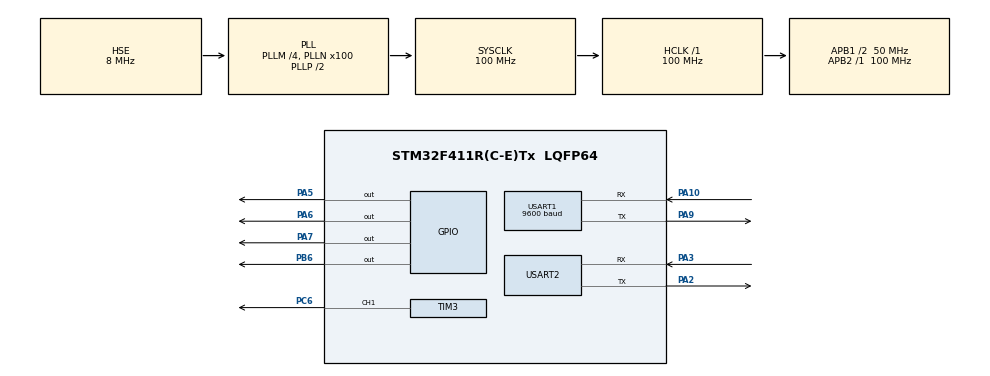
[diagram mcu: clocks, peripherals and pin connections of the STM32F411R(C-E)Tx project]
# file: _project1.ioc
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Mcu.Family=STM32F4
Mcu.Name=STM32F411R(C-E)Tx
Mcu.Package=LQFP64
NVIC.PriorityGroup=NVIC_PRIORITYGROUP_4
NVIC.USART1_IRQn=true\:0\:0\:false\:false\:true\:true\:true\:true
NVIC.USART2_IRQn=true\:0\:0\:false\:false\:true\:true\:true\:true
PA10.Mode=Asynchronous
PA10.Signal=USART1_RX
PA13.Mode=Serial_Wire
PA13.Signal=SYS_JTMS-SWDIO
PA14.Mode=Serial_Wire
PA14.Signal=SYS_JTCK-SWCLK
PA2.Mode=Asynchronous
PA2.Signal=USART2_TX
PA3.Mode=Asynchronous
PA3.Signal=USART2_RX
PA5.Signal=GPIO_Output
PA6.Signal=GPIO_Output
PA7.Signal=GPIO_Output
PA9.Mode=Asynchronous
PA9.Signal=USART1_TX
PB6.Signal=GPIO_Output
PC6.Signal=S_TIM3_CH1
PH0\ -\ OSC_IN.Mode=HSE-External-Oscillator
PH0\ -\ OSC_IN.Signal=RCC_OSC_IN
PH1\ -\ OSC_OUT.Mode=HSE-External-Oscillator
PH1\ -\ OSC_OUT.Signal=RCC_OSC_OUT
ProjectManager.HeapSize=0x200
ProjectManager.StackSize=0x400
ProjectManager.TargetToolchain=STM32CubeIDE
RCC.48MHZClocksFreq_Value=50000000
RCC.AHBFreq_Value=100000000
RCC.APB1CLKDivider=RCC_HCLK_DIV2
RCC.APB1Freq_Value=50000000
RCC.APB1TimFreq_Value=100000000
RCC.APB2Freq_Value=100000000
RCC.APB2TimFreq_Value=100000000
RCC.CortexFreq_Value=100000000
RCC.HCLKFreq_Value=100000000
RCC.HSE_VALUE=8000000
RCC.HSI_VALUE=16000000
RCC.LSE_VALUE=32768
RCC.PLLM=4
RCC.PLLN=100
RCC.PLLSourceVirtual=RCC_PLLSOURCE_HSE
RCC.SYSCLKFreq_VALUE=100000000
RCC.SYSCLKSource=RCC_SYSCLKSOURCE_PLLCLK
RCC.VCOOutputFreq_Value=200000000
SH.S_TIM3_CH1.0=TIM3_CH1,PWM Generation1 CH1
TIM3.Channel-PWM\ Generation1\ CH1=TIM_CHANNEL_1
TIM3.Period=100-1
TIM3.Prescaler=10000-1
USART1.BaudRate=9600
USART1.VirtualMode=VM_ASYNC
USART2.VirtualMode=VM_ASYNC
VP_TIM3_VS_ClockSourceINT.Mode=Internal
board=custom

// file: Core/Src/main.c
/* USER CODE BEGIN Header */
/**
  ******************************************************************************
  * @file           : main.c
  * @brief          : Main program body
  ******************************************************************************
  * @attention
  *
  * Copyright (c) 2024 STMicroelectronics.
  * All rights reserved.
  *
  * This software is licensed under terms that can be found in the LICENSE file
  * in the root directory of this software component.
  * If no LICENSE file comes with this software, it is provided AS-IS.
  *
  ******************************************************************************
  */
/* USER CODE END Header */
#include "main.h"
#include "tim.h"
#include "usart.h"
#include "gpio.h"

/* USER CODE BEGIN PV */

uint8_t rxData[8];

/* USER CODE END PV */

void SystemClock_Config(void);
/* USER CODE BEGIN PFP */

void HAL_UART_RxCpltCallback(UART_HandleTypeDef *huart)
{
	if(huart ->Instance == USART1)
	{
		HAL_UART_Transmit_IT(&huart1, rxData, sizeof(rxData));
		HAL_UART_Receive_IT(&huart1, rxData, sizeof(rxData));
	}

	if(huart ->Instance == USART2)
	{
		HAL_UART_Transmit_IT(&huart2, rxData, sizeof(rxData));
		HAL_UART_Receive_IT(&huart2, rxData, sizeof(rxData));
	}
}
/* USER CODE END PFP */

int main(void)
{

  /* MCU Configuration--------------------------------------------------------*/

  /* Reset of all peripherals, Initializes the Flash interface and the Systick. */
  HAL_Init();

  /* Configure the system clock */
  SystemClock_Config();

  /* Initialize all configured peripherals */
  MX_GPIO_Init();
  MX_USART2_UART_Init();
  MX_USART1_UART_Init();
  MX_TIM3_Init();
  /* USER CODE BEGIN 2 */

  HAL_UART_Receive_IT(&huart1, rxData, sizeof(rxData));
  HAL_UART_Receive_IT(&huart2, rxData, sizeof(rxData));

  HAL_TIM_PWM_Start(&htim3, TIM_CHANNEL_1);

  TIM3->CCR1 =50;
  /* USER CODE END 2 */

  /* Infinite loop */
  /* USER CODE BEGIN WHILE */

  uint8_t dutyValue =0 ;

  while (1)
  {

	  if(rxData[6] == 1 || rxData[6] == 2 ||rxData[6] == 8 ||rxData[6] == 4)
	  {
		  dutyValue =rxData[6];

		  switch(dutyValue)
		  {
		  case 1 :
			  HAL_GPIO_WritePin(GPIOA, GPIO_PIN_5, 0);
			  HAL_GPIO_WritePin(GPIOA, GPIO_PIN_6, 1);
			  HAL_GPIO_WritePin(GPIOA, GPIO_PIN_7, 1);
			  HAL_GPIO_WritePin(GPIOB, GPIO_PIN_6, 0);
			  break;

		  case 2 :
			  HAL_GPIO_WritePin(GPIOA, GPIO_PIN_5, 1);
			  HAL_GPIO_WritePin(GPIOA, GPIO_PIN_6, 0);
			  HAL_GPIO_WritePin(GPIOA, GPIO_PIN_7, 0);
			  HAL_GPIO_WritePin(GPIOB, GPIO_PIN_6, 1);
			  break;

		  case 4 :
			  HAL_GPIO_WritePin(GPIOA, GPIO_PIN_5, 0);
			  HAL_GPIO_WritePin(GPIOA, GPIO_PIN_6, 1);
			  HAL_GPIO_WritePin(GPIOA, GPIO_PIN_7, 0);
			  HAL_GPIO_WritePin(GPIOB, GPIO_PIN_6, 0);
			  break;

		  case 8:
			  HAL_GPIO_WritePin(GPIOA, GPIO_PIN_5, 0);
			  HAL_GPIO_WritePin(GPIOA, GPIO_PIN_6, 0);
			  HAL_GPIO_WritePin(GPIOA, GPIO_PIN_7, 1);
			  HAL_GPIO_WritePin(GPIOB, GPIO_PIN_6, 0);
			  break;

		  default :
			  break;
		  }
	  }

	  if((rxData[5] == 0) && (rxData[6] == 0))
	  {
		  dutyValue =rxData[5];

		  switch(dutyValue)
		  {
		  case 0 :
			  TIM3->CCR1 =50;
			  HAL_GPIO_WritePin(GPIOA, GPIO_PIN_5, 1);
			  HAL_GPIO_WritePin(GPIOA, GPIO_PIN_6, 1);
			  HAL_GPIO_WritePin(GPIOA, GPIO_PIN_7, 1);
			  HAL_GPIO_WritePin(GPIOB, GPIO_PIN_6, 1);
			  break;

		  default :
			  break;
		  }
	  }

	  if(rxData[0] == 'a')
	  	  {
	  		  dutyValue =rxData[5];

	  		  switch(dutyValue)
	  		  {
	  		  case 'a' :
	  			  TIM3->CCR1 =50;
	  			  HAL_GPIO_WritePin(GPIOA, GPIO_PIN_5, 1);
	  			  HAL_GPIO_WritePin(GPIOA, GPIO_PIN_6, 1);
	  			  HAL_GPIO_WritePin(GPIOA, GPIO_PIN_7, 1);
	  			  HAL_GPIO_WritePin(GPIOB, GPIO_PIN_6, 1);
	  			  break;

	  		  default :
	  			  break;
	  		  }
	  	  }

	  if(rxData[5] == 4 || rxData[5] == 8 ||rxData[5] == 32 )
	  {
		  dutyValue =rxData[5];

		  switch(dutyValue)
		  {
		  case 4 :
			  TIM3->CCR1 =50;
			  HAL_GPIO_WritePin(GPIOA, GPIO_PIN_5, 0);
			  HAL_GPIO_WritePin(GPIOA, GPIO_PIN_6, 1);
			  HAL_GPIO_WritePin(GPIOA, GPIO_PIN_7, 1);
			  HAL_GPIO_WritePin(GPIOB, GPIO_PIN_6, 0);
			  break;

		  case 8 :
			  TIM3->CCR1 =100;
			  HAL_GPIO_WritePin(GPIOA, GPIO_PIN_5, 0);
			  HAL_GPIO_WritePin(GPIOA, GPIO_PIN_6, 1);
			  HAL_GPIO_WritePin(GPIOA, GPIO_PIN_7, 1);
			  HAL_GPIO_WritePin(GPIOB, GPIO_PIN_6, 0);
			  break;

		  case 32 :
			  TIM3->CCR1 =30;
			  HAL_GPIO_WritePin(GPIOA, GPIO_PIN_5, 0);
			  HAL_GPIO_WritePin(GPIOA, GPIO_PIN_6, 1);
			  HAL_GPIO_WritePin(GPIOA, GPIO_PIN_7, 1);
			  HAL_GPIO_WritePin(GPIOB, GPIO_PIN_6, 0);
			  break;

		  default :
			  break;
		  }
	  }

    /* USER CODE END WHILE */

  }
}

void SystemClock_Config(void)
{
  RCC_OscInitTypeDef RCC_OscInitStruct = {0};
  RCC_ClkInitTypeDef RCC_ClkInitStruct = {0};

  /** Configure the main internal regulator output voltage
  */
  __HAL_RCC_PWR_CLK_ENABLE();
  __HAL_PWR_VOLTAGESCALING_CONFIG(PWR_REGULATOR_VOLTAGE_SCALE1);

  /** Initializes the RCC Oscillators according to the specified parameters
  * in the RCC_OscInitTypeDef structure.
  */
  RCC_OscInitStruct.OscillatorType = RCC_OSCILLATORTYPE_HSE;
  RCC_OscInitStruct.HSEState = RCC_HSE_ON;
  RCC_OscInitStruct.PLL.PLLState = RCC_PLL_ON;
  RCC_OscInitStruct.PLL.PLLSource = RCC_PLLSOURCE_HSE;
  RCC_OscInitStruct.PLL.PLLM = 4;
  RCC_OscInitStruct.PLL.PLLN = 100;
  RCC_OscInitStruct.PLL.PLLP = RCC_PLLP_DIV2;
  RCC_OscInitStruct.PLL.PLLQ = 4;
  if (HAL_RCC_OscConfig(&RCC_OscInitStruct) != HAL_OK)
  {
    Error_Handler();
  }

  /** Initializes the CPU, AHB and APB buses clocks
  */
  RCC_ClkInitStruct.ClockType = RCC_CLOCKTYPE_HCLK|RCC_CLOCKTYPE_SYSCLK
                              |RCC_CLOCKTYPE_PCLK1|RCC_CLOCKTYPE_PCLK2;
  RCC_ClkInitStruct.SYSCLKSource = RCC_SYSCLKSOURCE_PLLCLK;
  RCC_ClkInitStruct.AHBCLKDivider = RCC_SYSCLK_DIV1;
  RCC_ClkInitStruct.APB1CLKDivider = RCC_HCLK_DIV2;
  RCC_ClkInitStruct.APB2CLKDivider = RCC_HCLK_DIV1;

  if (HAL_RCC_ClockConfig(&RCC_ClkInitStruct, FLASH_LATENCY_3) != HAL_OK)
  {
    Error_Handler();
  }
}

void Error_Handler(void)
{
  __disable_irq();
  while (1)
  {
  }
}
